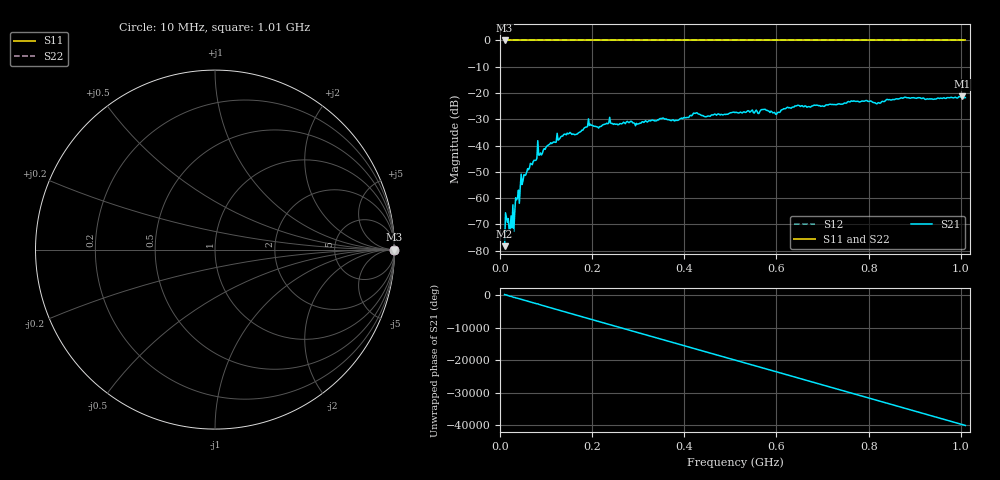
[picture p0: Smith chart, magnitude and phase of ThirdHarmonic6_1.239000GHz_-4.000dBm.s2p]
! 8/16/2025 1:08:38 PM
! C:\ANRITSUVNA\TEMP\TEMP.S2P
! CHANNEL.1
! TR.MEASUREMENT
! RAW.DATA
! RF.CORRECTION.OFF
! AVERAGING.OFF
! IF.BANDWIDTH: 5KHZ
! SWEEPTYPE:  FREQ.SWEEP(Linear)
! Reference Plane Port Info
! PORT:  PORT1  PORT2
! DISTANCE:  0  m  0  m
! TIME:  0  s  0  s
! PHASE.OFFSET:  0  deg.  0  deg.
! LOSS:  0  dB  0  dB
! REF.LOSS:  0  dB  0  dB
! REF.FREQ:  0  Hz  0  Hz
! Power Info
! POWER:  -20  dBm  -20  dBm
! EFF.POWER:  -20  dBm  -20  dBm
! SOURCE.ATTEN:  0  dB  0  dB
! TEST.ATTEN:  0  dB  0  dB
# GHZ S RI R 50.0
! FREQ.GHZ  S11RE  S11IM  S21RE  S21IM  S12RE  S12IM  S22RE  S22IM
!; PortSelection: Port_12
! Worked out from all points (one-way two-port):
!   501 points, 10 MHz to 1.01 GHz, reference 50 ohm
!   highest |S21| = -21.22 dB at 1.002 GHz (marker M1); lowest = -78.3 dB at 10 MHz (marker M2)
!   lowest |S11| = 0.0 dB at 10 MHz (marker M3)
!   |S11| at or under -10 dB: nowhere
!   |S22| runs from 0.0 to 0.0 dB; largest |S21 - S12| = 1.1
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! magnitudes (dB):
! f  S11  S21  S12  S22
! 10 MHz  0.0  -78.3  0.0  0.0
! 16 MHz  0.0  -69.2  0.0  0.0
! 26 MHz  0.0  -71.3  0.0  0.0
! 34 MHz  0.0  -59.9  0.0  0.0
! 36 MHz  0.0  -60.7  0.0  0.0
! 48 MHz  0.0  -54.8  0.0  0.0
! 78 MHz  0.0  -45.6  0.0  0.0
! 128 MHz  0.0  -37.7  0.0  0.0
! 178 MHz  0.0  -34.1  0.0  0.0
! 196 MHz  0.0  -31.9  0.0  0.0
! 214 MHz  0.0  -33.3  0.0  0.0
! 236 MHz  0.0  -31.4  0.0  0.0
! 298 MHz  0.0  -31.9  0.0  0.0
! 344 MHz  0.0  -30.3  0.0  0.0
! 510 MHz  0.0  -27.5  0.0  0.0
! 572 MHz  0.0  -26.3  0.0  0.0
! 602 MHz  0.0  -27.5  0.0  0.0
! 644 MHz  0.0  -24.8  0.0  0.0
! 678 MHz  0.0  -24.9  0.0  0.0
! 844 MHz  0.0  -22.5  0.0  0.0
! 1.002 GHz  0.0  -21.2  0.0  0.0
! 1.01 GHz  0.0  -21.8  0.0  0.0
